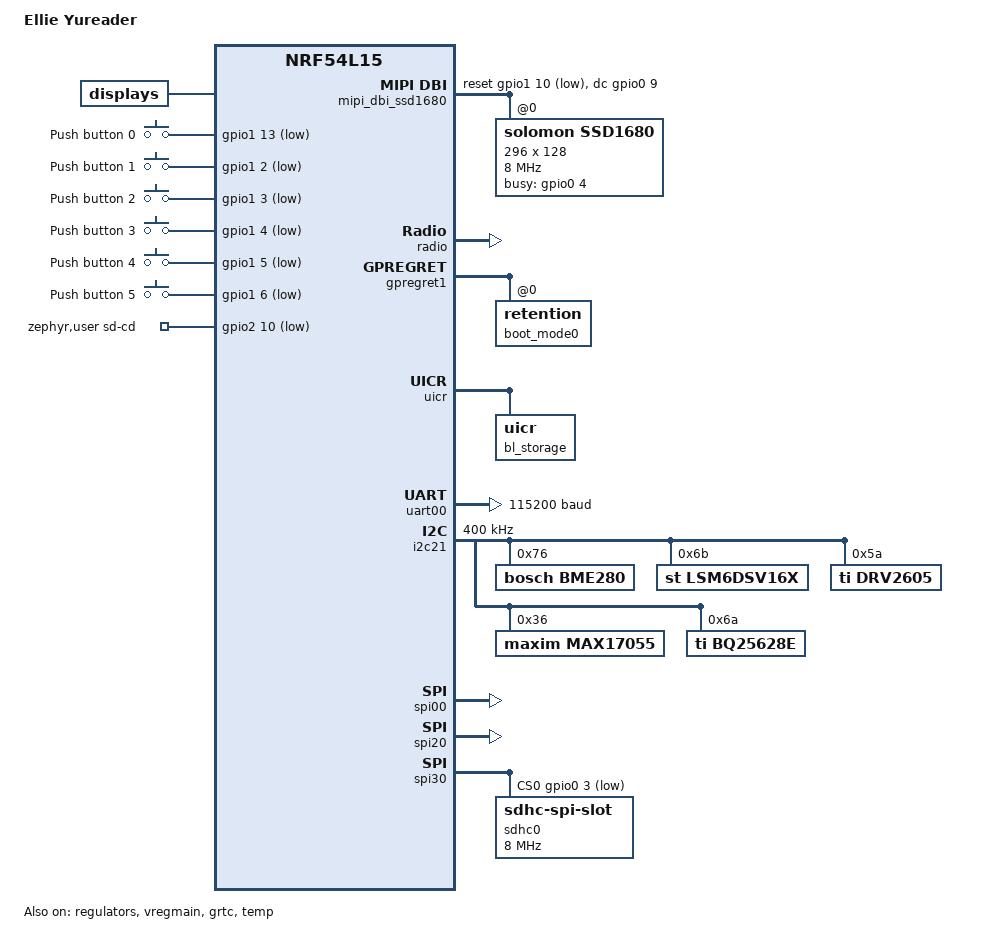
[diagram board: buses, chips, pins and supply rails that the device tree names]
/dts-v1/;

#include <nordic/nrf54l15_cpuapp.dtsi>
#include <zephyr/dt-bindings/i2c/i2c.h>
#include <zephyr/dt-bindings/sensor/lsm6dsv16x.h>
#include "yureader-pinctrl.dtsi"

/ {
	compatible = "ellie,yureader";
	model = "Ellie Yureader";

	chosen {
		zephyr,console = &uart00;
		zephyr,shell-uart = &uart00;
		zephyr,uart-mcumgr = &uart00;
		zephyr,bt-mon-uart = &uart00;
		zephyr,bt-c2h-uart = &uart00;
		zephyr,display = &ssd1680;
		zephyr,code-partition = &slot0_partition;
		zephyr,sram = &cpuapp_sram;
		zephyr,flash-controller = &rram_controller;
		zephyr,flash = &cpuapp_rram;
		zephyr,boot-mode = &boot_mode0;
		zephyr,display = &ssd1680;
	};

	displays {
		compatible = "zephyr,displays";
		displays = <&ssd1680>;
	};
	
	buttons {
		button0: button_0 {
			gpios = <&gpio1 13 GPIO_ACTIVE_LOW>;
			label = "Push button 0";
			zephyr,code = <INPUT_KEY_0>;
		};

		button1: button_1 {
			gpios = <&gpio1 2 GPIO_ACTIVE_LOW>;
			label = "Push button 1";
			zephyr,code = <INPUT_KEY_1>;
		};

		button2: button_3 {
			gpios = <&gpio1 3 GPIO_ACTIVE_LOW>;
			label = "Push button 2";
			zephyr,code = <INPUT_KEY_2>;
		};

		button3: button_4 {
			gpios = <&gpio1 4 GPIO_ACTIVE_LOW>;
			label = "Push button 3";
			zephyr,code = <INPUT_KEY_3>;
		};

		button4: button_5 {
			gpios = <&gpio1 5 GPIO_ACTIVE_LOW>;
			label = "Push button 4";
			zephyr,code = <INPUT_KEY_4>;
		};

		button5: button_6 {
			gpios = <&gpio1 6 GPIO_ACTIVE_LOW>;
			label = "Push button 5";
			zephyr,code = <INPUT_KEY_5>;
		};
	};

	zephyr,user {
		sd-cd-gpios = <&gpio2 10 GPIO_ACTIVE_LOW>;
	};
};

&cpuapp_sram {
	status = "okay";
};

&lfxo {
	load-capacitors = "external";
};

&hfxo {
	load-capacitors = "external";
};

&regulators {
	status = "okay";
};

&vregmain {
	status = "okay";
	regulator-initial-mode = <NRF5X_REG_MODE_DCDC>;
};

&grtc {
	owned-channels = <0 1 2 3 4 5 6 7 8 9 10 11>;
	/* Channels 7-11 reserved for Zero Latency IRQs, 3-4 for FLPR */
	child-owned-channels = <3 4 7 8 9 10 11>;
	status = "okay";
};

&gpio0 {
	status = "okay";
};

&gpio1 {
	status = "okay";
};

&gpio2 {
	status = "okay";
};

&gpiote20 {
	status = "okay";
};

&gpiote30 {
	status = "okay";
};

&radio {
	status = "okay";
};

&ieee802154 {
	status = "disabled";
};

&temp {
	status = "okay";
};

&clock {
	status = "okay";
};

&gpregret1 {
    status = "okay";

    boot_mode0: boot_mode@0 {
        compatible = "zephyr,retention";
        status = "okay";
        reg = <0x0 0x1>;
    };
};

&cpuapp_rram {
	partitions {
		compatible = "fixed-partitions";
		#address-cells = <1>;
		#size-cells = <1>;

		boot_partition: partition@0 {
			label = "mcuboot";
			reg = <0x0 DT_SIZE_K(64)>;
		};

		slot0_partition: partition@10000 {
			label = "image-0";
			reg = <0x10000 DT_SIZE_K(664)>;
		};

		slot1_partition: partition@b6000 {
			label = "image-1";
			reg = <0xb6000 DT_SIZE_K(664)>;
		};

		storage_partition: partition@15c000 {
			label = "storage";
			reg = <0x15c000 DT_SIZE_K(36)>;
		};
	};
};

&uicr {
	bl_storage: uicr@500 {
		reg = <0x500 0x460>;
	};
};

&uart00 {
	status = "okay";
	current-speed = <115200>;
	pinctrl-0 = <&uart00_default>;
	pinctrl-1 = <&uart00_sleep>;
	pinctrl-names = "default", "sleep";
};

&i2c21 {
	compatible = "nordic,nrf-twim";
	status = "okay";
	clock-frequency = <I2C_BITRATE_FAST>;

	pinctrl-0 = <&i2c21_default>;
	pinctrl-1 = <&i2c21_sleep>;
	pinctrl-names = "default", "sleep";

	bme280: bme280@76 {
		compatible = "bosch,bme280";
		reg = <0x76>;
	};

	lsm6dsv16x: lsm6dsv16x@6b {
		compatible = "st,lsm6dsv16x";
		reg = <0x6b>;

		accel-range = <LSM6DSV16X_DT_FS_8G>;
		accel-odr = <LSM6DSVXXX_DT_ODR_AT_60Hz>;

		gyro-range = <LSM6DSV16X_DT_FS_2000DPS>;
		gyro-odr = <LSM6DSVXXX_DT_ODR_AT_60Hz>;
	};

	drv2605: drv2605@5a {
		compatible = "ti,drv2605";
		reg = <0x5a>;
		status = "okay";

		actuator-mode = "LRA";

		vib-rated-mv = <2500>;
		vib-overdrive-mv = <2500>;

		feedback-brake-factor = "3X";
		loop-gain = "HIGH";
	};

	max17055: max17055@36 {
		compatible = "maxim,max17055";
		reg = <0x36>;
		status = "okay";

		design-capacity = <1450>;
		design-voltage = <3700>;
		desired-voltage = <4200>;

		desired-charging-current = <400>;

		i-chg-term = <75>;

		rsense-mohms = <10>;
		v-empty = <3000>;
	};

	bq25628e: bq25628e@6a {
		compatible = "ti,bq25628e";
		reg = <0x6a>;
		status = "okay";
		constant-charge-current-max-microamp = <400000>;
		constant-charge-voltage-max-microvolt = <4200000>;

		charge-term-current-microamp = <75000>;
		precharge-current-microamp = <30000>;
	};
};

&spi00 {
	status = "okay";
	cs-gpios = <&gpio2 5 GPIO_ACTIVE_LOW>;
	pinctrl-0 = <&spi00_default>;
	pinctrl-1 = <&spi00_sleep>;
	pinctrl-names = "default", "sleep";

	#address-cells = <1>;
	#size-cells = <0>;

	// TODO: add sx1262
};

&spi20 {
	status = "okay";
	cs-gpios = <&gpio2 6 GPIO_ACTIVE_LOW>;
	pinctrl-0 = <&spi20_default>;
	pinctrl-1 = <&spi20_sleep>;
	pinctrl-names = "default", "sleep";

	#address-cells = <1>;
	#size-cells = <0>;
};

/ {
	mipi_dbi_ssd1680 {
		compatible = "zephyr,mipi-dbi-spi";
		spi-dev = <&spi20>;
		dc-gpios = <&gpio0 9 GPIO_ACTIVE_HIGH>;
		reset-gpios = <&gpio1 10 GPIO_ACTIVE_LOW>;
		#address-cells = <1>;
		#size-cells = <0>;

		ssd1680: ssd1680@0 {
			compatible = "solomon,ssd1680";
			reg = <0>;
			status = "okay";
			mipi-max-frequency = <8000000>;
			busy-gpios = <&gpio0 4 GPIO_ACTIVE_HIGH>;

			width = <296>;
			height = <128>;

			rotation = <0>;
		};
	};
};

&spi30 {
	status = "okay";
	cs-gpios = <&gpio0 3 GPIO_ACTIVE_LOW>;
	pinctrl-0 = <&spi30_default>;
	pinctrl-1 = <&spi30_sleep>;
	pinctrl-names = "default", "sleep";

	#address-cells = <1>;
	#size-cells = <0>;

	sdhc0: sdhc@0 {
		compatible = "zephyr,sdhc-spi-slot";
		reg = <0>;
		status = "okay";
		spi-max-frequency = <8000000>;

		mmc {
			compatible = "zephyr,sdmmc-disk";
			disk-name = "SD";
			status = "okay";
		};
	};
};
